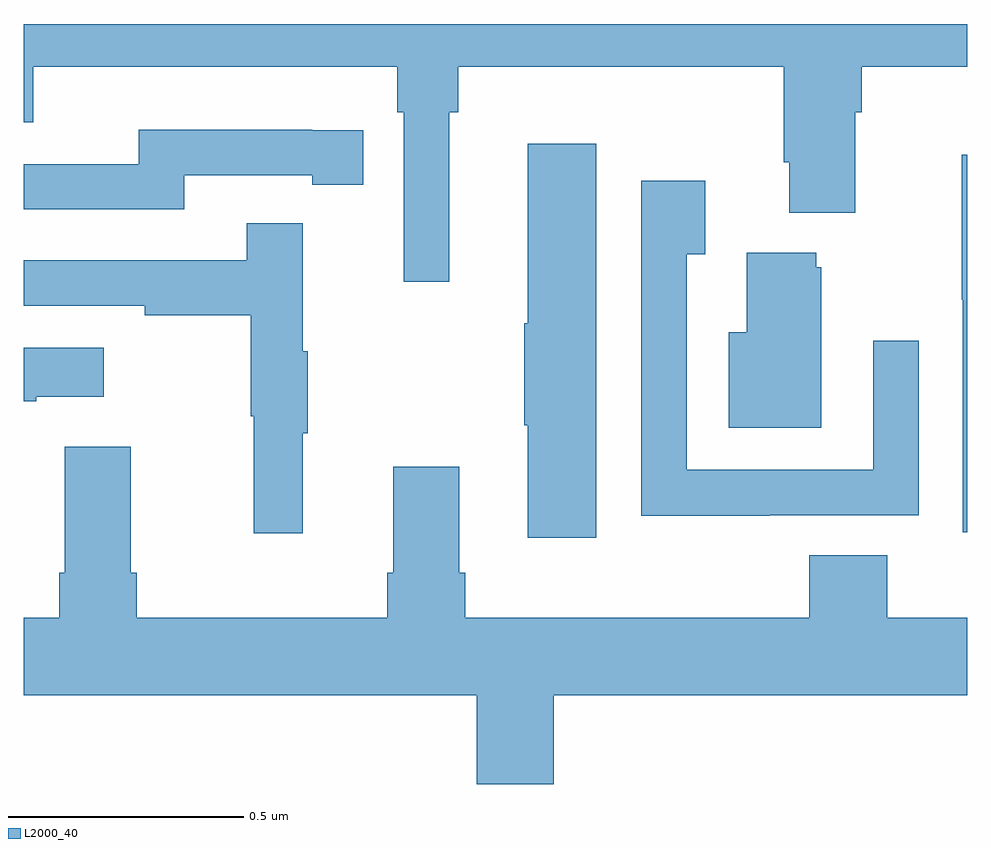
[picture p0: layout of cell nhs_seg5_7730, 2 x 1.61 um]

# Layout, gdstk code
import gdstk
lib = gdstk.Library(unit=1e-6, precision=1e-09)
def P(c, l, *ps):  # polygons
    for p in ps: c.add(gdstk.Polygon(p, *l))
L2000_40 = (2000, 40)

nhs_seg5_7730 = lib.new_cell('nhs_seg5_7730')
P(nhs_seg5_7730, L2000_40, [(212,908.591),(212.02,908.591),(212.02,908.708),(212.792,908.708),(212.792,908.612),(212.805,908.612),(212.805,908.253),(212.902,908.253),(212.902,908.612),(212.921,908.612),(212.921,908.708),(213.611,908.708),(213.611,908.506),(213.623,908.506),(213.623,908.399),(213.763,908.399),(213.763,908.612),(213.776,908.612),(213.776,908.708),(214,908.708),(214,908.799),(212,908.799)],
  [(212.34,908.478),(212.612,908.478),(212.612,908.458),(212.72,908.458),(212.72,908.574),(212.612,908.574),(212.612,908.575),(212.244,908.575),(212.244,908.502),(212,908.502),(212,908.406),(212.34,908.406)],
  [(213.214,908.545),(213.068,908.545),(213.068,908.165),(213.061,908.165),(213.061,907.948),(213.068,907.948),(213.068,907.71),(213.214,907.71)],
  [(214,908.522),(213.988,908.522),(213.988,908.215),(213.99,908.215),(213.99,907.722),(214,907.722)],
  [(213.581,907.758),(213.897,907.758),(213.897,908.128),(213.801,908.128),(213.801,907.854),(213.405,907.854),(213.405,908.311),(213.445,908.311),(213.445,908.467),(213.309,908.467),(213.309,907.757),(213.581,907.757)],
  [(212.591,907.931),(212.602,907.931),(212.602,908.105),(212.591,908.105),(212.591,908.377),(212.473,908.377),(212.473,908.298),(212,908.298),(212,908.202),(212.257,908.202),(212.257,908.182),(212.481,908.182),(212.481,907.968),(212.488,907.968),(212.488,907.719),(212.591,907.719)],
  [(213.691,908.283),(213.68,908.283),(213.68,908.314),(213.533,908.314),(213.533,908.146),(213.494,908.146),(213.494,907.943),(213.691,907.943)],
  [(212.027,908.009),(212.17,908.009),(212.17,908.113),(212,908.113),(212,907.999),(212.027,907.999)],
  [(213.124,907.376),(214,907.376),(214,907.54),(213.83,907.54),(213.83,907.673),(213.665,907.673),(213.665,907.54),(212.936,907.54),(212.936,907.636),(212.923,907.636),(212.923,907.861),(212.783,907.861),(212.783,907.636),(212.771,907.636),(212.771,907.54),(212.24,907.54),(212.24,907.636),(212.227,907.636),(212.227,907.903),(212.087,907.903),(212.087,907.636),(212.075,907.636),(212.075,907.54),(212,907.54),(212,907.376),(212.96,907.376),(212.96,907.188),(213.124,907.188)])

lib.write_gds('nhs_seg5_7730.gds')
